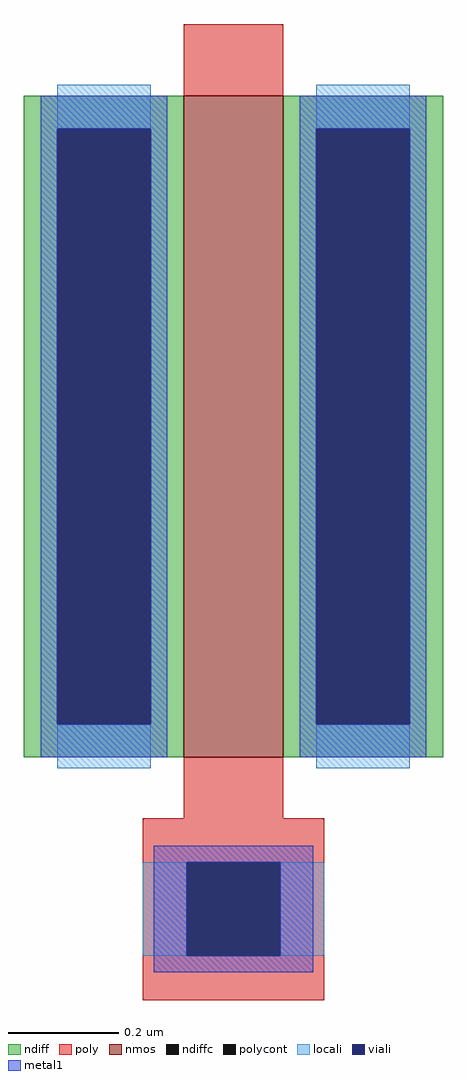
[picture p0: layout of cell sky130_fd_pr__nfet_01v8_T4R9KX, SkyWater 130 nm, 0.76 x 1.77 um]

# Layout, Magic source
magic
tech sky130A
magscale 1 2
<< nmos >>
rect -18 -89 18 151
<< ndiff >>
rect -76 139 -18 151
rect -76 -77 -64 139
rect -30 -77 -18 139
rect -76 -89 -18 -77
rect 18 139 76 151
rect 18 -77 30 139
rect 64 -77 76 139
rect 18 -89 76 -77
<< ndiffc >>
rect -64 -77 -30 139
rect 30 -77 64 139
<< poly >>
rect -18 151 18 177
rect -18 -111 18 -89
rect -33 -127 33 -111
rect -33 -161 -17 -127
rect 17 -161 33 -127
rect -33 -177 33 -161
<< polycont >>
rect -17 -161 17 -127
<< locali >>
rect -64 139 -30 155
rect -64 -93 -30 -77
rect 30 139 64 155
rect 30 -93 64 -77
rect -33 -161 -17 -127
rect 17 -161 33 -127
<< viali >>
rect -64 -77 -30 139
rect 30 -77 64 139
rect -17 -161 17 -127
<< metal1 >>
rect -70 139 -24 151
rect -70 -77 -64 139
rect -30 -77 -24 139
rect -70 -89 -24 -77
rect 24 139 70 151
rect 24 -77 30 139
rect 64 -77 70 139
rect 24 -89 70 -77
rect -29 -127 29 -121
rect -29 -161 -17 -127
rect 17 -161 29 -127
rect -29 -167 29 -161
<< properties >>
string gencell sky130_fd_pr__nfet_01v8
string library sky130
string parameters w 1.2 l 0.18 m 1 nf 1 diffcov 100 polycov 100 guard 0 glc 1 grc 1 gtc 1 gbc 1 tbcov 100 rlcov 100 topc 0 botc 1 poverlap 0 doverlap 1 lmin 0.15 wmin 0.42 compatible {sky130_fd_pr__nfet_01v8 sky130_fd_pr__nfet_01v8_lvt  sky130_fd_bs_flash__special_sonosfet_star  sky130_fd_pr__nfet_g5v0d10v5 sky130_fd_pr__nfet_05v0_nvt  sky130_fd_pr__nfet_03v3_nvt} full_metal 1 viasrc 100 viadrn 100 viagate 100 viagb 0 viagr 0 viagl 0 viagt 0
<< end >>
